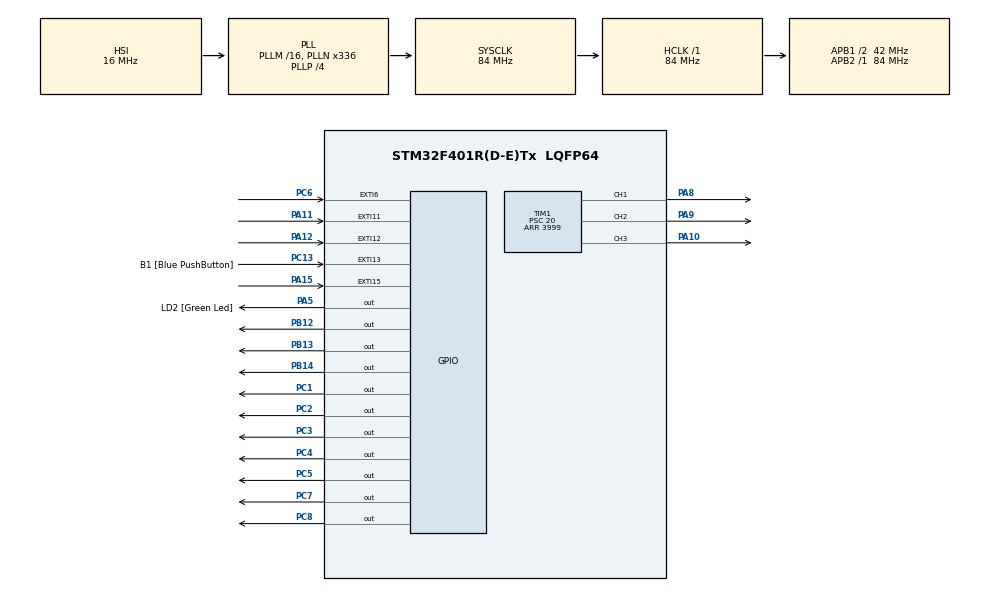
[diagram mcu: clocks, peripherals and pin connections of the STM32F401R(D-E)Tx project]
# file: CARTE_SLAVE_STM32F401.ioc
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Mcu.Family=STM32F4
Mcu.Name=STM32F401R(D-E)Tx
Mcu.Package=LQFP64
NVIC.EXTI15_10_IRQn=true\:0\:0\:false\:false\:true\:true\:true\:true
NVIC.EXTI9_5_IRQn=true\:0\:0\:false\:false\:true\:true\:true\:true
NVIC.PVD_IRQn=true\:0\:0\:false\:false\:true\:true\:true\:true
NVIC.PriorityGroup=NVIC_PRIORITYGROUP_0
PA10.Signal=S_TIM1_CH3
PA11.GPIO_ModeDefaultEXTI=GPIO_MODE_IT_RISING_FALLING
PA11.Signal=GPXTI11
PA12.GPIO_ModeDefaultEXTI=GPIO_MODE_IT_RISING_FALLING
PA12.Signal=GPXTI12
PA13.GPIO_Label=TMS
PA13.Mode=Serial_Wire
PA13.Signal=SYS_JTMS-SWDIO
PA14.GPIO_Label=TCK
PA14.Mode=Serial_Wire
PA14.Signal=SYS_JTCK-SWCLK
PA15.GPIO_ModeDefaultEXTI=GPIO_MODE_IT_RISING_FALLING
PA15.Signal=GPXTI15
PA2.GPIO_Label=USART_TX
PA2.GPIO_Mode=GPIO_MODE_AF_PP
PA2.GPIO_PuPd=GPIO_NOPULL
PA2.GPIO_Speed=GPIO_SPEED_FREQ_LOW
PA2.Signal=USART2_TX
PA3.GPIO_Label=USART_RX
PA3.GPIO_Mode=GPIO_MODE_AF_PP
PA3.GPIO_PuPd=GPIO_NOPULL
PA3.GPIO_Speed=GPIO_SPEED_FREQ_LOW
PA3.Signal=USART2_RX
PA5.GPIO_Label=LD2 [Green Led]
PA5.GPIO_Mode=GPIO_MODE_OUTPUT_PP
PA5.GPIO_PuPd=GPIO_NOPULL
PA5.GPIO_Speed=GPIO_SPEED_FREQ_LOW
PA5.Signal=GPIO_Output
PA8.Signal=S_TIM1_CH1
PA9.Signal=S_TIM1_CH2
PB12.Signal=GPIO_Output
PB13.Signal=GPIO_Output
PB14.Signal=GPIO_Output
PB3.GPIO_Label=SWO
PB3.Signal=SYS_JTDO-SWO
PC1.Signal=GPIO_Output
PC13-ANTI_TAMP.GPIO_Label=B1 [Blue PushButton]
PC13-ANTI_TAMP.GPIO_ModeDefaultEXTI=GPIO_MODE_IT_FALLING
PC13-ANTI_TAMP.GPIO_PuPd=GPIO_NOPULL
PC13-ANTI_TAMP.Signal=GPXTI13
PC14-OSC32_IN.Mode=LSE-External-Oscillator
PC14-OSC32_IN.Signal=RCC_OSC32_IN
PC15-OSC32_OUT.Mode=LSE-External-Oscillator
PC15-OSC32_OUT.Signal=RCC_OSC32_OUT
PC2.Signal=GPIO_Output
PC3.Signal=GPIO_Output
PC4.Signal=GPIO_Output
PC5.Signal=GPIO_Output
PC6.Signal=GPXTI6
PC7.Signal=GPIO_Output
PC8.Signal=GPIO_Output
PH0\ -\ OSC_IN.Mode=HSE-External-Clock-Source
PH0\ -\ OSC_IN.Signal=RCC_OSC_IN
PH1\ -\ OSC_OUT.Mode=HSE-External-Clock-Source
PH1\ -\ OSC_OUT.Signal=RCC_OSC_OUT
ProjectManager.HeapSize=0x200
ProjectManager.StackSize=0x400
ProjectManager.TargetToolchain=STM32CubeIDE
RCC.48MHZClocksFreq_Value=48000000
RCC.AHBFreq_Value=84000000
RCC.APB1CLKDivider=RCC_HCLK_DIV2
RCC.APB1Freq_Value=42000000
RCC.APB1TimFreq_Value=84000000
RCC.APB2Freq_Value=84000000
RCC.APB2TimFreq_Value=84000000
RCC.CortexFreq_Value=84000000
RCC.HCLKFreq_Value=84000000
RCC.HSE_VALUE=8000000
RCC.HSI_VALUE=16000000
RCC.PLLN=336
RCC.PLLP=RCC_PLLP_DIV4
RCC.PLLQ=7
RCC.SYSCLKFreq_VALUE=84000000
RCC.SYSCLKSource=RCC_SYSCLKSOURCE_PLLCLK
RCC.VCOOutputFreq_Value=336000000
SH.S_TIM1_CH1.0=TIM1_CH1,PWM Generation1 CH1
SH.S_TIM1_CH2.0=TIM1_CH2,PWM Generation2 CH2
SH.S_TIM1_CH3.0=TIM1_CH3,PWM Generation3 CH3
TIM1.Channel-PWM\ Generation1\ CH1=TIM_CHANNEL_1
TIM1.Channel-PWM\ Generation2\ CH2=TIM_CHANNEL_2
TIM1.Channel-PWM\ Generation3\ CH3=TIM_CHANNEL_3
TIM1.Period=3999
TIM1.Prescaler=20
TIM1.Pulse-PWM\ Generation1\ CH1=1000
TIM1.Pulse-PWM\ Generation2\ CH2=32768
TIM1.Pulse-PWM\ Generation3\ CH3=32768
VP_TIM1_VS_ClockSourceINT.Mode=Internal
board=NUCLEO-F401RE

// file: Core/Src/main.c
/* USER CODE BEGIN Header */
/**
  ******************************************************************************
  * @file           : main.c
  * @brief          : Main program body
  ******************************************************************************
  * @attention
  *
  * Copyright (c) 2024 STMicroelectronics.
  * All rights reserved.
  *
  * This software is licensed under terms that can be found in the LICENSE file
  * in the root directory of this software component.
  * If no LICENSE file comes with this software, it is provided AS-IS.
  *
  ******************************************************************************
  */
/* USER CODE END Header */
#include "main.h"

/* USER CODE BEGIN PD */

/* SWITCH PINS */
#define Q1L GPIO_PIN_1
#define Q1L_PORT GPIOC

#define Q2L GPIO_PIN_2
#define Q2L_PORT GPIOC

#define Q3L GPIO_PIN_3
#define Q3L_PORT GPIOC

/* HALL SENSORS PINS */
#define H1 GPIO_PIN_11
#define H1_PORT GPIOA

#define H2 GPIO_PIN_12
#define H2_PORT GPIOA

#define H3 GPIO_PIN_15
#define H3_PORT GPIOA

#define H1sim GPIO_PIN_12
#define H1sim_PORT GPIOB

#define H2sim GPIO_PIN_13
#define H2sim_PORT GPIOB

#define H3sim GPIO_PIN_14
#define H3sim_PORT GPIOB

/* USER CODE END PD */

TIM_HandleTypeDef htim1;

/* USER CODE BEGIN PV */
 int a =0;
 int sense_rotation_horaire = 0 ;
 int sense_rotation_anti_horaire = 0 ;
 int sense_rotation ;
 volatile uint16_t pulseValueA = 0;
 volatile uint16_t pulseValueB = 0;
 volatile uint16_t pulseValueC = 0;
/* USER CODE END PV */

void SystemClock_Config(void);
static void MX_GPIO_Init(void);
static void MX_TIM1_Init(void);
/* USER CODE BEGIN PFP */

void All_GPIO_to_0();
void Sequence_moteur_horaire(uint16_t GPIO_Pin);
void Sequence_moteur_antihoraire(uint16_t GPIO_Pin);
void Simulation_capteurs_Hall();
/* USER CODE END PFP */

int main(void)
{

  /* MCU Configuration--------------------------------------------------------*/

  /* Reset of all peripherals, Initializes the Flash interface and the Systick. */
  HAL_Init();

  /* Configure the system clock */
  SystemClock_Config();

  /* Initialize all configured peripherals */
  MX_GPIO_Init();
  MX_TIM1_Init();
  /* USER CODE BEGIN 2 */
  HAL_TIM_PWM_Start(&htim1, TIM_CHANNEL_1);

  /* USER CODE END 2 */

  /* Infinite loop */
  /* USER CODE BEGIN WHILE */
  while (1)
  {
	 Simulation_capteurs_Hall();
    /* USER CODE END WHILE */

  }
}

void SystemClock_Config(void)
{
  RCC_OscInitTypeDef RCC_OscInitStruct = {0};
  RCC_ClkInitTypeDef RCC_ClkInitStruct = {0};

  /** Configure the main internal regulator output voltage
  */
  __HAL_RCC_PWR_CLK_ENABLE();
  __HAL_PWR_VOLTAGESCALING_CONFIG(PWR_REGULATOR_VOLTAGE_SCALE2);

  /** Initializes the RCC Oscillators according to the specified parameters
  * in the RCC_OscInitTypeDef structure.
  */
  RCC_OscInitStruct.OscillatorType = RCC_OSCILLATORTYPE_HSI;
  RCC_OscInitStruct.HSIState = RCC_HSI_ON;
  RCC_OscInitStruct.HSICalibrationValue = RCC_HSICALIBRATION_DEFAULT;
  RCC_OscInitStruct.PLL.PLLState = RCC_PLL_ON;
  RCC_OscInitStruct.PLL.PLLSource = RCC_PLLSOURCE_HSI;
  RCC_OscInitStruct.PLL.PLLM = 16;
  RCC_OscInitStruct.PLL.PLLN = 336;
  RCC_OscInitStruct.PLL.PLLP = RCC_PLLP_DIV4;
  RCC_OscInitStruct.PLL.PLLQ = 7;
  if (HAL_RCC_OscConfig(&RCC_OscInitStruct) != HAL_OK)
  {
    Error_Handler();
  }

  /** Initializes the CPU, AHB and APB buses clocks
  */
  RCC_ClkInitStruct.ClockType = RCC_CLOCKTYPE_HCLK|RCC_CLOCKTYPE_SYSCLK
                              |RCC_CLOCKTYPE_PCLK1|RCC_CLOCKTYPE_PCLK2;
  RCC_ClkInitStruct.SYSCLKSource = RCC_SYSCLKSOURCE_PLLCLK;
  RCC_ClkInitStruct.AHBCLKDivider = RCC_SYSCLK_DIV1;
  RCC_ClkInitStruct.APB1CLKDivider = RCC_HCLK_DIV2;
  RCC_ClkInitStruct.APB2CLKDivider = RCC_HCLK_DIV1;

  if (HAL_RCC_ClockConfig(&RCC_ClkInitStruct, FLASH_LATENCY_2) != HAL_OK)
  {
    Error_Handler();
  }
}

static void MX_TIM1_Init(void)
{

  TIM_ClockConfigTypeDef sClockSourceConfig = {0};
  TIM_MasterConfigTypeDef sMasterConfig = {0};
  TIM_OC_InitTypeDef sConfigOC = {0};
  TIM_BreakDeadTimeConfigTypeDef sBreakDeadTimeConfig = {0};

  htim1.Instance = TIM1;
  htim1.Init.Prescaler = 20;
  htim1.Init.CounterMode = TIM_COUNTERMODE_UP;
  htim1.Init.Period = 3999;
  htim1.Init.ClockDivision = TIM_CLOCKDIVISION_DIV1;
  htim1.Init.RepetitionCounter = 0;
  htim1.Init.AutoReloadPreload = TIM_AUTORELOAD_PRELOAD_DISABLE;
  if (HAL_TIM_Base_Init(&htim1) != HAL_OK)
  {
    Error_Handler();
  }
  sClockSourceConfig.ClockSource = TIM_CLOCKSOURCE_INTERNAL;
  if (HAL_TIM_ConfigClockSource(&htim1, &sClockSourceConfig) != HAL_OK)
  {
    Error_Handler();
  }
  if (HAL_TIM_PWM_Init(&htim1) != HAL_OK)
  {
    Error_Handler();
  }
  sMasterConfig.MasterOutputTrigger = TIM_TRGO_RESET;
  sMasterConfig.MasterSlaveMode = TIM_MASTERSLAVEMODE_DISABLE;
  if (HAL_TIMEx_MasterConfigSynchronization(&htim1, &sMasterConfig) != HAL_OK)
  {
    Error_Handler();
  }
  sConfigOC.OCMode = TIM_OCMODE_PWM1;
  sConfigOC.Pulse = 1000;
  sConfigOC.OCPolarity = TIM_OCPOLARITY_HIGH;
  sConfigOC.OCNPolarity = TIM_OCNPOLARITY_HIGH;
  sConfigOC.OCFastMode = TIM_OCFAST_DISABLE;
  sConfigOC.OCIdleState = TIM_OCIDLESTATE_RESET;
  sConfigOC.OCNIdleState = TIM_OCNIDLESTATE_RESET;
  if (HAL_TIM_PWM_ConfigChannel(&htim1, &sConfigOC, TIM_CHANNEL_1) != HAL_OK)
  {
    Error_Handler();
  }
  sConfigOC.Pulse = 32768;
  if (HAL_TIM_PWM_ConfigChannel(&htim1, &sConfigOC, TIM_CHANNEL_2) != HAL_OK)
  {
    Error_Handler();
  }
  if (HAL_TIM_PWM_ConfigChannel(&htim1, &sConfigOC, TIM_CHANNEL_3) != HAL_OK)
  {
    Error_Handler();
  }
  sBreakDeadTimeConfig.OffStateRunMode = TIM_OSSR_DISABLE;
  sBreakDeadTimeConfig.OffStateIDLEMode = TIM_OSSI_DISABLE;
  sBreakDeadTimeConfig.LockLevel = TIM_LOCKLEVEL_OFF;
  sBreakDeadTimeConfig.DeadTime = 0;
  sBreakDeadTimeConfig.BreakState = TIM_BREAK_DISABLE;
  sBreakDeadTimeConfig.BreakPolarity = TIM_BREAKPOLARITY_HIGH;
  sBreakDeadTimeConfig.AutomaticOutput = TIM_AUTOMATICOUTPUT_DISABLE;
  if (HAL_TIMEx_ConfigBreakDeadTime(&htim1, &sBreakDeadTimeConfig) != HAL_OK)
  {
    Error_Handler();
  }
  HAL_TIM_MspPostInit(&htim1);

}

static void MX_GPIO_Init(void)
{
  GPIO_InitTypeDef GPIO_InitStruct = {0};

  /* GPIO Ports Clock Enable */
  __HAL_RCC_GPIOC_CLK_ENABLE();
  __HAL_RCC_GPIOH_CLK_ENABLE();
  __HAL_RCC_GPIOA_CLK_ENABLE();
  __HAL_RCC_GPIOB_CLK_ENABLE();

  /*Configure GPIO pin Output Level */
  HAL_GPIO_WritePin(GPIOC, GPIO_PIN_1|GPIO_PIN_2|GPIO_PIN_3|GPIO_PIN_4
                          |GPIO_PIN_5|GPIO_PIN_7|GPIO_PIN_8, GPIO_PIN_RESET);

  /*Configure GPIO pin Output Level */
  HAL_GPIO_WritePin(LD2_GPIO_Port, LD2_Pin, GPIO_PIN_RESET);

  /*Configure GPIO pin Output Level */
  HAL_GPIO_WritePin(GPIOB, GPIO_PIN_12|GPIO_PIN_13|GPIO_PIN_14, GPIO_PIN_RESET);

  /*Configure GPIO pin : B1_Pin */
  GPIO_InitStruct.Pin = B1_Pin;
  GPIO_InitStruct.Mode = GPIO_MODE_IT_FALLING;
  GPIO_InitStruct.Pull = GPIO_NOPULL;
  HAL_GPIO_Init(B1_GPIO_Port, &GPIO_InitStruct);

  /*Configure GPIO pins : PC1 PC2 PC3 PC4
                           PC5 PC7 PC8 */
  GPIO_InitStruct.Pin = GPIO_PIN_1|GPIO_PIN_2|GPIO_PIN_3|GPIO_PIN_4
                          |GPIO_PIN_5|GPIO_PIN_7|GPIO_PIN_8;
  GPIO_InitStruct.Mode = GPIO_MODE_OUTPUT_PP;
  GPIO_InitStruct.Pull = GPIO_NOPULL;
  GPIO_InitStruct.Speed = GPIO_SPEED_FREQ_LOW;
  HAL_GPIO_Init(GPIOC, &GPIO_InitStruct);

  /*Configure GPIO pins : USART_TX_Pin USART_RX_Pin */
  GPIO_InitStruct.Pin = USART_TX_Pin|USART_RX_Pin;
  GPIO_InitStruct.Mode = GPIO_MODE_AF_PP;
  GPIO_InitStruct.Pull = GPIO_NOPULL;
  GPIO_InitStruct.Speed = GPIO_SPEED_FREQ_LOW;
  GPIO_InitStruct.Alternate = GPIO_AF7_USART2;
  HAL_GPIO_Init(GPIOA, &GPIO_InitStruct);

  /*Configure GPIO pin : LD2_Pin */
  GPIO_InitStruct.Pin = LD2_Pin;
  GPIO_InitStruct.Mode = GPIO_MODE_OUTPUT_PP;
  GPIO_InitStruct.Pull = GPIO_NOPULL;
  GPIO_InitStruct.Speed = GPIO_SPEED_FREQ_LOW;
  HAL_GPIO_Init(LD2_GPIO_Port, &GPIO_InitStruct);

  /*Configure GPIO pins : PB12 PB13 PB14 */
  GPIO_InitStruct.Pin = GPIO_PIN_12|GPIO_PIN_13|GPIO_PIN_14;
  GPIO_InitStruct.Mode = GPIO_MODE_OUTPUT_PP;
  GPIO_InitStruct.Pull = GPIO_NOPULL;
  GPIO_InitStruct.Speed = GPIO_SPEED_FREQ_LOW;
  HAL_GPIO_Init(GPIOB, &GPIO_InitStruct);

  /*Configure GPIO pin : PC6 */
  GPIO_InitStruct.Pin = GPIO_PIN_6;
  GPIO_InitStruct.Mode = GPIO_MODE_IT_RISING;
  GPIO_InitStruct.Pull = GPIO_NOPULL;
  HAL_GPIO_Init(GPIOC, &GPIO_InitStruct);

  /*Configure GPIO pins : PA11 PA12 PA15 */
  GPIO_InitStruct.Pin = GPIO_PIN_11|GPIO_PIN_12|GPIO_PIN_15;
  GPIO_InitStruct.Mode = GPIO_MODE_IT_RISING_FALLING;
  GPIO_InitStruct.Pull = GPIO_NOPULL;
  HAL_GPIO_Init(GPIOA, &GPIO_InitStruct);

  /* EXTI interrupt init*/
  HAL_NVIC_SetPriority(EXTI9_5_IRQn, 0, 0);
  HAL_NVIC_EnableIRQ(EXTI9_5_IRQn);

  HAL_NVIC_SetPriority(EXTI15_10_IRQn, 0, 0);
  HAL_NVIC_EnableIRQ(EXTI15_10_IRQn);

/* USER CODE BEGIN MX_GPIO_Init_2 */
  HAL_GPIO_WritePin(H1sim_PORT, H1, GPIO_PIN_RESET);
  HAL_GPIO_WritePin(H2sim_PORT, H2, GPIO_PIN_RESET);
  HAL_GPIO_WritePin(H3sim_PORT, H3, GPIO_PIN_SET);
/* USER CODE END MX_GPIO_Init_2 */
}

/* USER CODE BEGIN 4 */
void Sequence_moteur_horaire(uint16_t GPIO_Pin){
    GPIO_PinState H1_State = HAL_GPIO_ReadPin(H1_PORT, H1);
    GPIO_PinState H2_State = HAL_GPIO_ReadPin(H2_PORT, H2);
    GPIO_PinState H3_State = HAL_GPIO_ReadPin(H3_PORT, H3);
if (GPIO_Pin == H1) {
    if(H3_State == GPIO_PIN_SET && H1_State == GPIO_PIN_SET && H2_State == GPIO_PIN_RESET){
    	__HAL_TIM_SET_COMPARE(&htim1, TIM_CHANNEL_1, 500);
    	HAL_TIM_PWM_Start(&htim1, TIM_CHANNEL_1);
        HAL_GPIO_WritePin(Q2L_PORT, Q2L, GPIO_PIN_SET);
    }
    else if(H1_State == GPIO_PIN_RESET && H2_State == GPIO_PIN_SET && H3_State == GPIO_PIN_RESET){
        HAL_GPIO_WritePin(Q1L_PORT, Q1L, GPIO_PIN_SET);
        __HAL_TIM_SET_COMPARE(&htim1, TIM_CHANNEL_2, 500);
        HAL_TIM_PWM_Start(&htim1, TIM_CHANNEL_2);
    }
}
if (GPIO_Pin == H2) {
    if(H3_State == GPIO_PIN_RESET && H1_State == GPIO_PIN_SET && H2_State == GPIO_PIN_SET){
    	__HAL_TIM_SET_COMPARE(&htim1, TIM_CHANNEL_2, 500);
    	HAL_TIM_PWM_Start(&htim1, TIM_CHANNEL_2);
        HAL_GPIO_WritePin(Q3L_PORT, Q3L, GPIO_PIN_SET);
    }
    else if(H1_State == GPIO_PIN_RESET && H2_State == GPIO_PIN_RESET && H3_State == GPIO_PIN_SET){
        HAL_GPIO_WritePin(Q2L_PORT, Q2L, GPIO_PIN_SET);
        __HAL_TIM_SET_COMPARE(&htim1, TIM_CHANNEL_3, 500);
        HAL_TIM_PWM_Start(&htim1, TIM_CHANNEL_3);
    }
}
if (GPIO_Pin == H3){
    if(H3_State == GPIO_PIN_RESET && H1_State == GPIO_PIN_SET && H2_State == GPIO_PIN_RESET){
    	__HAL_TIM_SET_COMPARE(&htim1, TIM_CHANNEL_1, 500);
    	HAL_TIM_PWM_Start(&htim1, TIM_CHANNEL_1);
        HAL_GPIO_WritePin(Q3L_PORT, Q3L, GPIO_PIN_SET);
    }
    else if(H1_State == GPIO_PIN_RESET && H2_State == GPIO_PIN_SET && H3_State == GPIO_PIN_SET){
        HAL_GPIO_WritePin(Q1L_PORT, Q1L, GPIO_PIN_SET);
        __HAL_TIM_SET_COMPARE(&htim1, TIM_CHANNEL_3, 500);
        HAL_TIM_PWM_Start(&htim1, TIM_CHANNEL_3);
    }
}
}

void Sequence_moteur_antihoraire(uint16_t GPIO_Pin){
    GPIO_PinState H1_State = HAL_GPIO_ReadPin(H1_PORT, H1);
    GPIO_PinState H2_State = HAL_GPIO_ReadPin(H2_PORT, H2);
    GPIO_PinState H3_State = HAL_GPIO_ReadPin(H3_PORT, H3);

    if (GPIO_Pin == H1) {
        if(H3_State == GPIO_PIN_RESET && H1_State == GPIO_PIN_SET && H2_State == GPIO_PIN_SET){
            __HAL_TIM_SET_COMPARE(&htim1, TIM_CHANNEL_3, 500);
            HAL_TIM_PWM_Start(&htim1, TIM_CHANNEL_3);
            HAL_GPIO_WritePin(Q2L_PORT, Q2L, GPIO_PIN_SET);
        }
        else if(H1_State == GPIO_PIN_RESET && H2_State == GPIO_PIN_RESET && H3_State == GPIO_PIN_SET){
            HAL_GPIO_WritePin(Q3L_PORT, Q3L, GPIO_PIN_SET);
            __HAL_TIM_SET_COMPARE(&htim1, TIM_CHANNEL_2, 500);
            HAL_TIM_PWM_Start(&htim1, TIM_CHANNEL_2);
        }
    }
    if (GPIO_Pin == H2) {
        if(H3_State == GPIO_PIN_SET && H1_State == GPIO_PIN_RESET && H2_State == GPIO_PIN_SET){
            __HAL_TIM_SET_COMPARE(&htim1, TIM_CHANNEL_1, 500);
            HAL_TIM_PWM_Start(&htim1, TIM_CHANNEL_1);
            HAL_GPIO_WritePin(Q3L_PORT, Q3L, GPIO_PIN_SET);
        }
        else if(H1_State == GPIO_PIN_SET && H2_State == GPIO_PIN_RESET && H3_State == GPIO_PIN_RESET){
            HAL_GPIO_WritePin(Q1L_PORT, Q1L, GPIO_PIN_SET);
            __HAL_TIM_SET_COMPARE(&htim1, TIM_CHANNEL_2, 500);
            HAL_TIM_PWM_Start(&htim1, TIM_CHANNEL_3);
        }
    }
    if (GPIO_Pin == H3) {
        if(H3_State == GPIO_PIN_SET && H1_State == GPIO_PIN_SET && H2_State == GPIO_PIN_RESET){
            __HAL_TIM_SET_COMPARE(&htim1, TIM_CHANNEL_1, 500);
            HAL_TIM_PWM_Start(&htim1, TIM_CHANNEL_2);
            HAL_GPIO_WritePin(Q1L_PORT, Q1L, GPIO_PIN_SET);
        }
        else if(H1_State == GPIO_PIN_RESET && H2_State == GPIO_PIN_SET && H3_State == GPIO_PIN_RESET){
            HAL_GPIO_WritePin(Q2L_PORT, Q2L, GPIO_PIN_SET);
            __HAL_TIM_SET_COMPARE(&htim1, TIM_CHANNEL_1, 500);
            HAL_TIM_PWM_Start(&htim1, TIM_CHANNEL_1);
        }
    }
}

void Simulation_capteurs_Hall()
{
	HAL_GPIO_WritePin(H1sim_PORT, H1sim, GPIO_PIN_SET);
	HAL_Delay(10);
	HAL_GPIO_WritePin(H3sim_PORT, H3sim, GPIO_PIN_RESET);
	HAL_Delay(10);
	HAL_GPIO_WritePin(H2sim_PORT, H2sim, GPIO_PIN_SET);
	HAL_Delay(10);
	HAL_GPIO_WritePin(H1sim_PORT, H1sim, GPIO_PIN_RESET);
	HAL_Delay(10);
	HAL_GPIO_WritePin(H3sim_PORT, H3sim, GPIO_PIN_SET);
	HAL_Delay(10);
	HAL_GPIO_WritePin(H2sim_PORT, H2sim, GPIO_PIN_RESET);
	HAL_Delay(10);

}

void All_GPIO_to_0(){
	//permet de reset l'état des GPIO destinés à la ocmmande des ponts H
	HAL_GPIO_WritePin(Q1L_PORT, Q1L, GPIO_PIN_RESET);
	HAL_GPIO_WritePin(Q2L_PORT, Q2L, GPIO_PIN_RESET);
	HAL_GPIO_WritePin(Q3L_PORT, Q3L, GPIO_PIN_RESET);
	__HAL_TIM_SET_COMPARE(&htim1, TIM_CHANNEL_1, 0);
	__HAL_TIM_SET_COMPARE(&htim1, TIM_CHANNEL_2, 0);
	__HAL_TIM_SET_COMPARE(&htim1, TIM_CHANNEL_3, 0);
}

void HAL_GPIO_EXTI_Callback(uint16_t GPIO_Pin){
    All_GPIO_to_0();
    Sequence_moteur_horaire(GPIO_Pin);
}

/* USER CODE END 4 */

void Error_Handler(void)
{
  __disable_irq();
  while (1)
  {
  }
}
